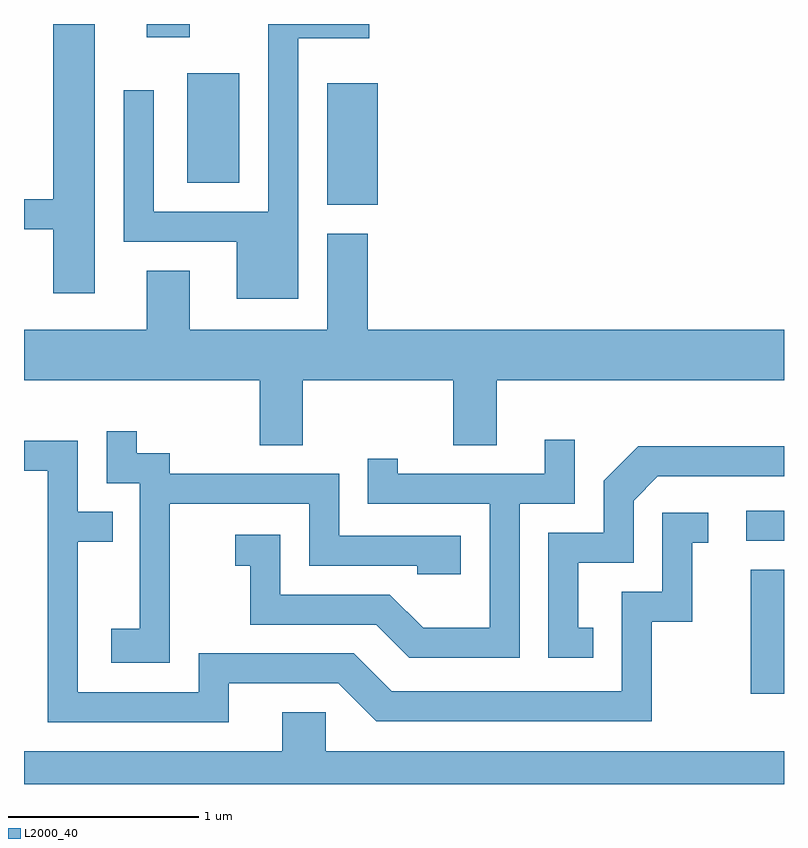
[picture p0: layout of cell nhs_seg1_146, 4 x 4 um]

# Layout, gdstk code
import gdstk
lib = gdstk.Library(unit=1e-6, precision=1e-09)
def R(c, l, rs):  # rectangles x0, y0, x1, y1
    for r in rs: c.add(gdstk.rectangle(r[:2], r[2:], *l))
def P(c, l, *ps):  # polygons
    for p in ps: c.add(gdstk.Polygon(p, *l))
L2000_40 = (2000, 40)

nhs_seg1_146 = lib.new_cell('nhs_seg1_146')
R(nhs_seg1_146, L2000_40, [(193.436,860.186,193.611,860.839), (193.413,860.991,193.611,861.149), (191.206,862.761,191.474,863.399), (190.471,862.876,190.744,863.454), (190.256,863.641,190.484,863.712)])
P(nhs_seg1_146, L2000_40, [(189.984,863.712),(189.766,863.712),(189.766,862.789),(189.611,862.789),(189.611,862.631),(189.766,862.631),(189.766,862.296),(189.984,862.296)],
  [(191.054,863.636),(191.428,863.636),(191.428,863.712),(190.896,863.712),(190.896,862.724),(190.294,862.724),(190.294,863.363),(190.136,863.363),(190.136,862.566),(190.731,862.566),(190.731,862.266),(191.054,862.266)],
  [(191.079,861.836),(191.871,861.836),(191.871,861.496),(192.099,861.496),(192.099,861.836),(193.611,861.836),(193.611,862.104),(191.419,862.104),(191.419,862.609),(191.206,862.609),(191.206,862.104),(190.484,862.104),(190.484,862.414),(190.256,862.414),(190.256,862.104),(189.611,862.104),(189.611,861.836),(190.851,861.836),(190.851,861.496),(191.079,861.496)],
  [(190.379,861.186),(191.111,861.186),(191.111,860.861),(191.681,860.861),(191.681,860.816),(191.909,860.816),(191.909,861.019),(191.269,861.019),(191.269,861.344),(190.379,861.344),(190.379,861.454),(190.204,861.454),(190.204,861.568),(190.046,861.568),(190.046,861.296),(190.221,861.296),(190.221,860.529),(190.071,860.529),(190.071,860.351),(190.379,860.351)],
  [(192.219,861.186),(192.509,861.186),(192.509,861.523),(192.351,861.523),(192.351,861.344),(191.579,861.344),(191.579,861.423),(191.421,861.423),(191.421,861.186),(192.061,861.186),(192.061,860.534),(191.712,860.534),(191.537,860.709),(190.959,860.709),(190.959,861.024),(190.723,861.024),(190.723,860.861),(190.801,860.861),(190.801,860.551),(191.464,860.551),(191.639,860.376),(192.219,860.376)],
  [(190.689,860.241),(191.264,860.241),(191.464,860.041),(192.914,860.041),(192.914,860.566),(193.129,860.566),(193.129,860.981),(193.213,860.981),(193.213,861.139),(192.971,861.139),(192.971,860.724),(192.756,860.724),(192.756,860.199),(191.547,860.199),(191.347,860.399),(190.531,860.399),(190.531,860.194),(189.894,860.194),(189.894,860.986),(190.078,860.986),(190.078,861.144),(189.894,861.144),(189.894,861.519),(189.611,861.519),(189.611,861.361),(189.736,861.361),(189.736,860.036),(190.689,860.036)],
  [(192.608,860.534),(192.529,860.534),(192.529,860.876),(192.819,860.876),(192.819,861.204),(192.947,861.331),(193.611,861.331),(193.611,861.489),(192.844,861.489),(192.661,861.307),(192.661,861.034),(192.371,861.034),(192.371,860.376),(192.608,860.376)],
  [(193.611,859.884),(191.199,859.884),(191.199,860.089),(190.971,860.089),(190.971,859.884),(189.611,859.884),(189.611,859.712),(193.611,859.712)])

lib.write_gds('nhs_seg1_146.gds')
